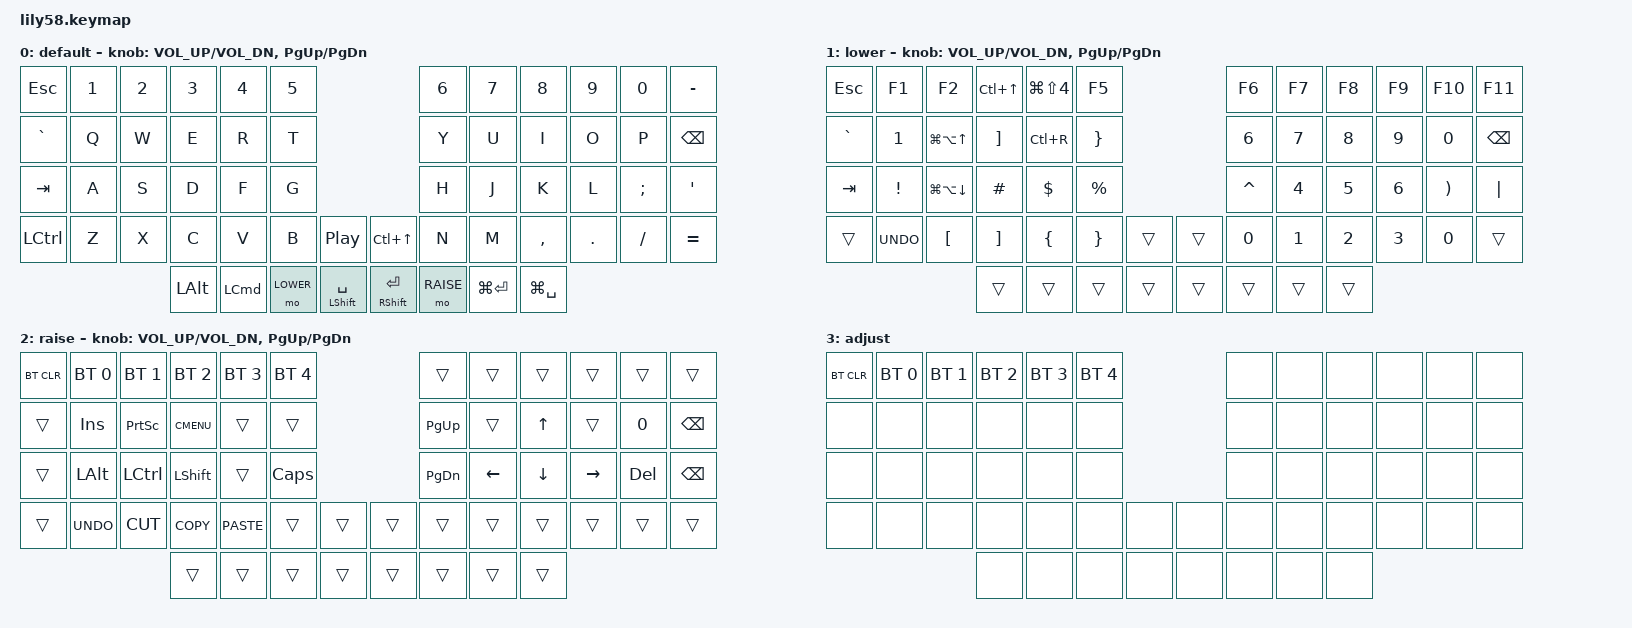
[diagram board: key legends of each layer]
/*
 * Copyright (c) 2020 The ZMK Contributors
 *
 * SPDX-License-Identifier: MIT
 */

#include <behaviors.dtsi>
#include <dt-bindings/zmk/bt.h>
#include <dt-bindings/zmk/keys.h>

// #include <dt-bindings/zmk/rgb.h>
// #include <dt-bindings/zmk/ext_power.h>

#define BASE 0
#define LOWER 1
#define RAISE 2
#define ADJUST 3

/ {
    // Right knob as its own sensor (index 1); pins from the PandaKB Lily58 shield.
    // Status is set per half in lily58_left.overlay / lily58_right.overlay.
    right_encoder: encoder_right {
        compatible = "alps,ec11";
        a-gpios = <&pro_micro 20 (GPIO_ACTIVE_HIGH | GPIO_PULL_UP)>;
        b-gpios = <&pro_micro 21 (GPIO_ACTIVE_HIGH | GPIO_PULL_UP)>;
        steps = <80>;
    };

    // Activate ADJUST layer by pressing raise and lower

    conditional_layers {
        compatible = "zmk,conditional-layers";

        adjust_layer {
            if-layers = <LOWER RAISE>;
            then-layer = <ADJUST>;
        };
    };

    keymap {
        compatible = "zmk,keymap";

        default_layer {
            display-name = "default";

            // ------------------------------------------------------------------------------------------------------------
            // |  ESC  |  1  |  2  |  3   |  4   |  5   |                   |  6   |  7    |  8    |  9   |   0   |   -   |
            // | GRAVE |  Q  |  W  |  E   |  R   |  T   |                   |  Y   |  U    |  I    |  O   |   P   | BKSPC |
            // |  TAB  |  A  |  S  |  D   |  F   |  G   |                   |  H   |  J    |  K    |  L   |   ;   |   '   |
            // |  DEL  |  Z  |  X  |  C   |  V   |  B   |  PLAY  |  | MSNCTL|  N   |  M    |  ,    |  .   |   /   |   =   |
            //               | ALT | GUI  | LOWER| SH/SP|  |  SH/RET | RAISE| LG(ENT)|LG(SPC)|

            bindings = <
&kp ESC    &kp N1  &kp N2  &kp N3    &kp N4            &kp N5                                          &kp N6     &kp N7         &kp N8         &kp N9   &kp N0    &kp MINUS
&kp GRAVE  &kp Q   &kp W   &kp E     &kp R             &kp T                                           &kp Y      &kp U          &kp I          &kp O    &kp P     &kp BSPC
&kp TAB    &kp A   &kp S   &kp D     &kp F             &kp G                                           &kp H      &kp J          &kp K          &kp L    &kp SEMI  &kp SQT
&kp LCTRL  &kp Z   &kp X   &kp C     &kp V             &kp B      &kp C_PLAY_PAUSE   &kp LC(UP)        &kp N      &kp M          &kp COMMA      &kp DOT  &kp FSLH  &kp EQUAL
                           &kp LALT  &kp LEFT_COMMAND  &mo LOWER  &mt LSHFT SPACE    &mt RSHFT RET     &mo RAISE  &kp LG(ENTER)  &kp LG(SPACE)
            >;

            sensor-bindings =
                <&inc_dec_kp C_VOL_UP C_VOL_DN>,
                <&inc_dec_kp PG_UP PG_DN>;
        };

        lower_layer {
            display-name = "lower";

            // TODO: Some binds are waiting for shifted keycode support.
            // ------------------------------------------------------------------------------------------------------------
            // |  ESC  |  F1 | F2  |  F3  |  F4  |  F5  |                   |  F6  |  F7   |  F8   |  F9  |  F10  |  F11  |
            // | GRAVE |  1  |  [  |  ]   | LC(R)|  }   |                   |  6   |  7    |  8    |  9   |   0   |  BSPC |
            // |  TAB  |  !  |  @  |  #   |  $   |  %   |                   |  ^   |  4    |  5    |  6   |   )   |   |   |
            // |       | UNDO|  [  |  ]   |  {   |  }   |        |  |       |  0   |  1    |  2    |  3   |   0   |       |
            //               |     |      |      |      |        |  |       |      |       |       |

            bindings = <
&kp ESC    &kp F1      &kp F2                  &kp LC(UP_ARROW)   &kp LG(LS(NUMBER_4))  &kp F5                             &kp F6     &kp F7        &kp F8        &kp F9        &kp F10   &kp F11
&kp GRAVE  &kp N1      &kp LG(LA(UP_ARROW))    &kp RIGHT_BRACKET  &kp LC(R)             &kp RIGHT_BRACE                    &kp N6     &kp N7        &kp N8        &kp N9        &kp N0    &kp BACKSPACE
&kp TAB    &kp EXCL    &kp LG(LA(DOWN_ARROW))  &kp HASH           &kp DLLR              &kp PRCNT                          &kp CARET  &kp NUMBER_4  &kp N5        &kp NUMBER_6  &kp RPAR  &kp PIPE
&trans     &kp K_UNDO  &kp LEFT_BRACKET        &kp RIGHT_BRACKET  &kp LEFT_BRACE        &kp RBRC         &trans    &trans  &kp N0     &kp NUMBER_1  &kp NUMBER_2  &kp NUMBER_3  &kp N0    &trans
                                               &trans             &trans                &trans           &trans    &trans  &trans     &trans        &trans
            >;

            sensor-bindings =
                <&inc_dec_kp C_VOL_UP C_VOL_DN>,
                <&inc_dec_kp PG_UP PG_DN>;
        };

        raise_layer {
            display-name = "raise";

            // ------------------------------------------------------------------------------------------------------------
            // | BTCLR | BT1  | BT2  |  BT3  |  BT4  |  BT5 |                |      |      |       |      |       |       |
            // |       | INS  | PSCR | GUI   |       |      |                | PGUP |      |   ^   |      |   0   | BKSPC |
            // |       | ALT  | CTRL | SHIFT |       | CAPS |                | PGDN |   <- |   v   |  ->  |  DEL  | BKSPC |
            // |       | UNDO | CUT  | COPY  | PASTE |      |      |  |      |      |      |       |      |       |       |
            //                |      |       |       |      |      |  |      |      |      |       |

            bindings = <
&bt BT_CLR  &bt BT_SEL 0  &bt BT_SEL 1  &bt BT_SEL 2  &bt BT_SEL 3  &bt BT_SEL 4                    &trans     &trans    &trans    &trans     &trans   &trans
&trans      &kp INS       &kp PSCRN     &kp K_CMENU   &trans        &trans                          &kp PG_UP  &trans    &kp UP    &trans     &kp N0   &kp BACKSPACE
&trans      &kp LALT      &kp LCTRL     &kp LSHFT     &trans        &kp CLCK                        &kp PG_DN  &kp LEFT  &kp DOWN  &kp RIGHT  &kp DEL  &kp BSPC
&trans      &kp K_UNDO    &kp K_CUT     &kp K_COPY    &kp K_PASTE   &trans        &trans    &trans  &trans     &trans    &trans    &trans     &trans   &trans
                                        &trans        &trans        &trans        &trans    &trans  &trans     &trans    &trans
            >;

            sensor-bindings =
                <&inc_dec_kp C_VOL_UP C_VOL_DN>,
                <&inc_dec_kp PG_UP PG_DN>;
        };

        adjust_layer {
            // ----------------------------------------------------------------------------------------------------------------------------
            // | BTCLR  |  BT1    |  BT2    |   BT3   |   BT4   |   BT5   |                  |      |      |       |      |       |       |
            // |        |         |         |         |         |         |                  |      |      |       |      |       |       |
            // |        |         |         |         |         |         |                  |      |      |       |      |       |       |
            // |        |         |         |         |         |         |         | |      |      |      |       |      |       |       |
            //                    |         |         |         |         |         | |      |      |      |       |

            display-name = "adjust";
            bindings = <
&bt BT_CLR  &bt BT_SEL 0  &bt BT_SEL 1  &bt BT_SEL 2  &bt BT_SEL 3  &bt BT_SEL 4                  &none  &none  &none  &none  &none  &none
&none       &none         &none         &none         &none         &none                         &none  &none  &none  &none  &none  &none
&none       &none         &none         &none         &none         &none                         &none  &none  &none  &none  &none  &none
&none       &none         &none         &none         &none         &none         &none    &none  &none  &none  &none  &none  &none  &none
                                        &none         &none         &none         &none    &none  &none  &none  &none
            >;
        };
    };
};

&sensors {
    sensors = <&left_encoder &right_encoder>;
};
